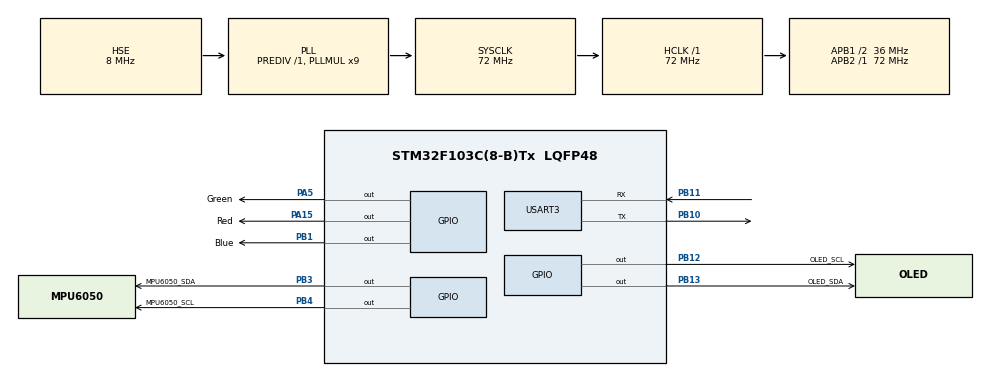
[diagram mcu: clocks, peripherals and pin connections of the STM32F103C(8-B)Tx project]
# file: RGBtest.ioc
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Mcu.Family=STM32F1
Mcu.Name=STM32F103C(8-B)Tx
Mcu.Package=LQFP48
NVIC.PriorityGroup=NVIC_PRIORITYGROUP_4
PA13.Mode=Serial_Wire
PA13.Signal=SYS_JTMS-SWDIO
PA14.Mode=Serial_Wire
PA14.Signal=SYS_JTCK-SWCLK
PA15.GPIO_Label=Red
PA15.PinState=GPIO_PIN_SET
PA15.Signal=GPIO_Output
PA5.GPIO_Label=Green
PA5.PinState=GPIO_PIN_SET
PA5.Signal=GPIO_Output
PB1.GPIO_Label=Blue
PB1.PinState=GPIO_PIN_SET
PB1.Signal=GPIO_Output
PB10.Mode=Asynchronous
PB10.Signal=USART3_TX
PB11.Mode=Asynchronous
PB11.Signal=USART3_RX
PB12.GPIO_Label=OLED_SCL
PB12.GPIO_Speed=GPIO_SPEED_FREQ_HIGH
PB12.PinState=GPIO_PIN_SET
PB12.Signal=GPIO_Output
PB13.GPIO_Label=OLED_SDA
PB13.GPIO_Speed=GPIO_SPEED_FREQ_HIGH
PB13.PinState=GPIO_PIN_SET
PB13.Signal=GPIO_Output
PB3.GPIO_Label=MPU6050_SDA
PB3.GPIO_Speed=GPIO_SPEED_FREQ_HIGH
PB3.PinState=GPIO_PIN_SET
PB3.Signal=GPIO_Output
PB4.GPIO_Label=MPU6050_SCL
PB4.GPIO_Speed=GPIO_SPEED_FREQ_HIGH
PB4.PinState=GPIO_PIN_SET
PB4.Signal=GPIO_Output
PD0-OSC_IN.Mode=HSE-External-Oscillator
PD0-OSC_IN.Signal=RCC_OSC_IN
PD1-OSC_OUT.Mode=HSE-External-Oscillator
PD1-OSC_OUT.Signal=RCC_OSC_OUT
ProjectManager.HeapSize=0x200
ProjectManager.StackSize=0x400
ProjectManager.TargetToolchain=SW4STM32
RCC.AHBFreq_Value=72000000
RCC.APB1CLKDivider=RCC_HCLK_DIV2
RCC.APB1Freq_Value=36000000
RCC.APB1TimFreq_Value=72000000
RCC.APB2Freq_Value=72000000
RCC.APB2TimFreq_Value=72000000
RCC.EnbaleCSS=true
RCC.HCLKFreq_Value=72000000
RCC.PLLMUL=RCC_PLL_MUL9
RCC.PLLSourceVirtual=RCC_PLLSOURCE_HSE
RCC.SYSCLKFreq_VALUE=72000000
RCC.SYSCLKSource=RCC_SYSCLKSOURCE_PLLCLK
RCC.USBFreq_Value=72000000
USART3.VirtualMode=VM_ASYNC
board=custom

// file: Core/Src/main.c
/* USER CODE BEGIN Header */
/**
  ******************************************************************************
  * @file           : main.c
  * @brief          : Main program body
  ******************************************************************************
  * @attention
  *
  * Copyright (c) 2022 STMicroelectronics.
  * All rights reserved.
  *
  * This software is licensed under terms that can be found in the LICENSE file
  * in the root directory of this software component.
  * If no LICENSE file comes with this software, it is provided AS-IS.
  *
  ******************************************************************************
  */
/* USER CODE END Header */
#include "main.h"
#include "usart.h"
#include "gpio.h"

/* USER CODE BEGIN Includes */
#include "oled.h"
#include "bmp.h"
#include "MPU6050.h"
#include "inv_mpu.h"
#include "UART.h"
#include "retarget.h"
/* USER CODE END Includes */

void SystemClock_Config(void);

int main(void) {
    /* USER CODE BEGIN 1 */
    float var_MPU6050[4] = {0};
    /* USER CODE END 1 */

    /* MCU Configuration--------------------------------------------------------*/

    /* Reset of all peripherals, Initializes the Flash interface and the Systick. */
    HAL_Init();

    /* Configure the system clock */
    SystemClock_Config();

    /* Initialize all configured peripherals */
    MX_GPIO_Init();
    MX_USART3_UART_Init();
    /* USER CODE BEGIN 2 */
    RetargetInit(&huart3);
    OLED_Init();                   //=====OLED初始化
    OLED_Clear();                  //=====OLED清屏
    // if(!MPU6050_Init())
    HAL_GPIO_WritePin(GPIOA, Green_Pin, GPIO_PIN_RESET);
    mpu_dmp_init();
    OLED_ShowString(0, 0, "Pitch:", 12);
    OLED_ShowString(0, 2, "Roll :", 12);
    OLED_ShowString(0, 4, "Yaw  :", 12);
    OLED_ShowString(0, 6, "Temp :", 12);
    /* USER CODE END 2 */

    /* Infinite loop */
    while (1) {

        /* USER CODE BEGIN 3 */
        //HAL_Delay(20);
        var_MPU6050[3] = mpu_dmp_get_data(&var_MPU6050[0], &var_MPU6050[1], &var_MPU6050[2]);            //得到姿态角即欧拉角
        //vcan_sendware((uint8_t *)var_MPU6050, sizeof(var_MPU6050));
        /**************显示俯仰角***************/
        if (var_MPU6050[0] < 0) {
            OLED_ShowString(48, 0, "-", 12);
            OLED_Float(0, 56, -var_MPU6050[0], 3);
        } else {
            OLED_ShowString(48, 0, "+", 12);
            OLED_Float(0, 56, var_MPU6050[0], 3);
        }
/**************显示俯仰角***************/

/**************显示翻滚角***************/
        if (var_MPU6050[1] < 0) {
            OLED_ShowString(48, 2, "-", 12);
            OLED_Float(2, 56, -var_MPU6050[1], 3);
        } else {
            OLED_ShowString(48, 2, "+", 12);
            OLED_Float(2, 56, var_MPU6050[1], 3);
        }
/**************显示翻滚角***************/

/**************显示航向角***************/
        if (var_MPU6050[2] < 0) {
            OLED_ShowString(48, 4, "-", 12);
            OLED_Float(4, 56, -var_MPU6050[2], 3);
        } else {
            OLED_ShowString(48, 4, "+", 12);
            OLED_Float(4, 56, var_MPU6050[2], 3);
        }
/**************显示航向角***************/
        OLED_Float(6,48,MPU_Get_Temperature(),2);	//显示温度

    }
    /* USER CODE END 3 */
}

void SystemClock_Config(void) {
    RCC_OscInitTypeDef RCC_OscInitStruct = {0};
    RCC_ClkInitTypeDef RCC_ClkInitStruct = {0};

    /** Initializes the RCC Oscillators according to the specified parameters
    * in the RCC_OscInitTypeDef structure.
    */
    RCC_OscInitStruct.OscillatorType = RCC_OSCILLATORTYPE_HSE;
    RCC_OscInitStruct.HSEState = RCC_HSE_ON;
    RCC_OscInitStruct.HSEPredivValue = RCC_HSE_PREDIV_DIV1;
    RCC_OscInitStruct.HSIState = RCC_HSI_ON;
    RCC_OscInitStruct.PLL.PLLState = RCC_PLL_ON;
    RCC_OscInitStruct.PLL.PLLSource = RCC_PLLSOURCE_HSE;
    RCC_OscInitStruct.PLL.PLLMUL = RCC_PLL_MUL9;
    if (HAL_RCC_OscConfig(&RCC_OscInitStruct) != HAL_OK) {
        Error_Handler();
    }

    /** Initializes the CPU, AHB and APB buses clocks
    */
    RCC_ClkInitStruct.ClockType = RCC_CLOCKTYPE_HCLK | RCC_CLOCKTYPE_SYSCLK
                                  | RCC_CLOCKTYPE_PCLK1 | RCC_CLOCKTYPE_PCLK2;
    RCC_ClkInitStruct.SYSCLKSource = RCC_SYSCLKSOURCE_PLLCLK;
    RCC_ClkInitStruct.AHBCLKDivider = RCC_SYSCLK_DIV1;
    RCC_ClkInitStruct.APB1CLKDivider = RCC_HCLK_DIV2;
    RCC_ClkInitStruct.APB2CLKDivider = RCC_HCLK_DIV1;

    if (HAL_RCC_ClockConfig(&RCC_ClkInitStruct, FLASH_LATENCY_2) != HAL_OK) {
        Error_Handler();
    }

    /** Enables the Clock Security System
    */
    HAL_RCC_EnableCSS();
}

void Error_Handler(void) {
    __disable_irq();
    while (1) {
    }
}
